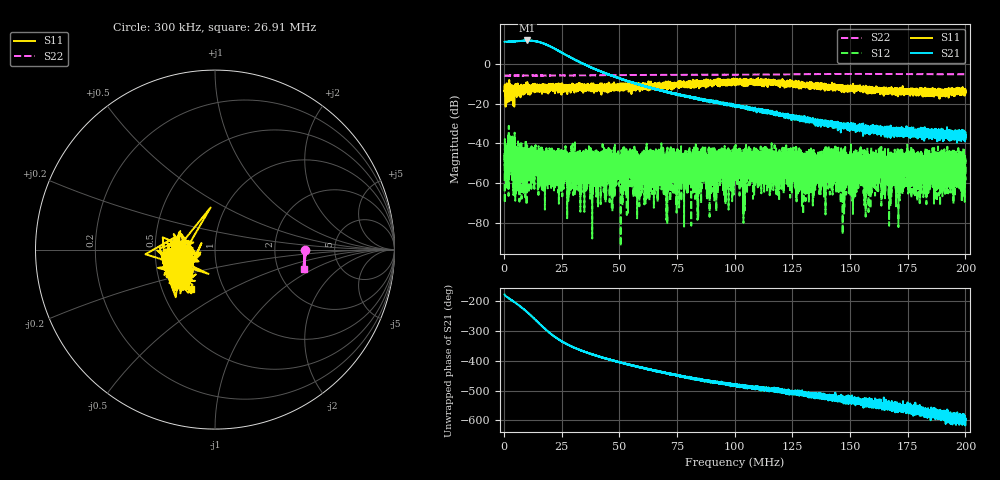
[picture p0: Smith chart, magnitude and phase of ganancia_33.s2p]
# Hz S DB R 50
! CMT, M5065, 19127446, 24.2.4/2
! Date: 11/8/2024 3:02:40 PM
! Data: Format (Calibration Info)
! Freq	S11:dB/Ang(F2)	S21:dB/Ang(F2)	S12:dB/Ang(F2)	S22:dB/Ang(F2)
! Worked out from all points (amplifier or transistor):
!   9000 points, 300 kHz to 200 MHz, reference 50 ohm
!   highest |S21| = 11.6 dB at 10.18 MHz (marker M1)
!   |S21| within 3 dB of that: start of sweep to 20.09 MHz (the widest 1 of 2)
!   unconditionally stable (mu >= 1): start of sweep to end of sweep
!   at 33.59 MHz: K = 288.32, MAG = 2.1 dB, |S12| = -59.0 dB
!   at 100.2 MHz: K = 621.86, MAG = -18.9 dB, |S12| = -45.0 dB
!   at 200 MHz: K = 5586.84, MAG = -35.4 dB, |S12| = -47.2 dB
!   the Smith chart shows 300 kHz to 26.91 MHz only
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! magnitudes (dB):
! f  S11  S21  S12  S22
! 300 kHz  -13.4  10.9  -49.3  -6.0
! 3.074 MHz  -12.4  11.1  -47.4  -6.0
! 10.18 MHz  -9.3  11.6  -54.4  -6.0
! 17.9 MHz  -12.2  9.7  -59.1  -6.0
! 33.59 MHz  -10.3  0.4  -59.0  -5.9
! 66.87 MHz  -11.6  -13.2  -43.6  -5.7
! 83.72 MHz  -9.8  -17.5  -59.8  -5.6
! 86.91 MHz  -9.3  -18.0  -51.2  -5.6
! 90.13 MHz  -10.0  -18.8  -56.7  -5.5
! 94.7 MHz  -9.3  -20.1  -45.3  -5.6
! 96.74 MHz  -8.4  -20.7  -51.7  -5.6
! 100.2 MHz  -9.3  -20.8  -45.0  -5.5
! 133.4 MHz  -11.3  -28.5  -48.3  -5.3
! 143.1 MHz  -11.5  -30.0  -47.5  -5.2
! 147.7 MHz  -13.5  -31.2  -48.5  -5.2
! 149.8 MHz  -11.8  -30.9  -48.2  -5.2
! 151.8 MHz  -12.2  -32.3  -52.1  -5.2
! 153.8 MHz  -12.0  -31.7  -46.8  -5.2
! 166.7 MHz  -14.0  -34.8  -48.6  -5.2
! 194.5 MHz  -15.0  -34.7  -48.2  -5.4
! 198.9 MHz  -12.5  -34.5  -51.9  -5.3
! 200 MHz  -13.9  -37.1  -47.2  -5.4
